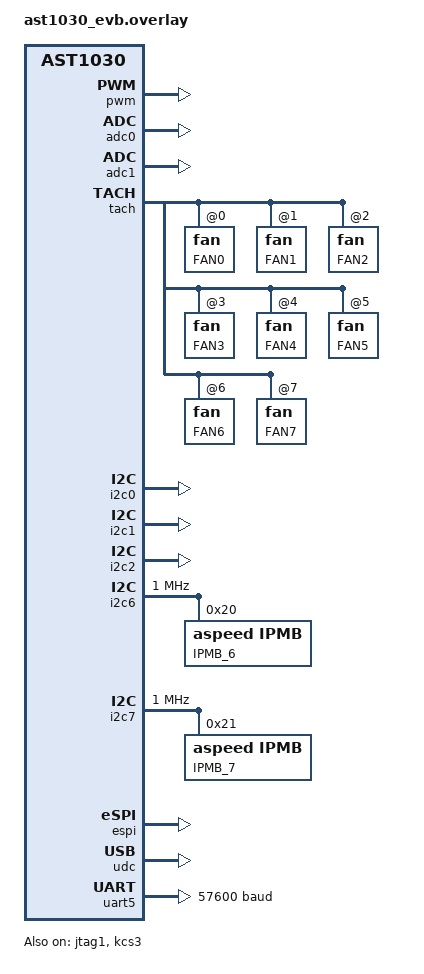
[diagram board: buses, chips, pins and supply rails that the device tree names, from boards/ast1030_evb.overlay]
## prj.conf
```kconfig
# cmsis-os2
CONFIG_CMSIS_RTOS_V2=y
CONFIG_NUM_PREEMPT_PRIORITIES=56
#CONFIG_HEAP_MEM_POOL_SIZE=8192
#CONFIG_CMSIS_V2_MSGQ_MAX_DYNAMIC_SIZE=32768
CONFIG_HEAP_MEM_POOL_SIZE=32768
CONFIG_CMSIS_V2_MSGQ_MAX_DYNAMIC_SIZE=16384
CONFIG_POLL=y
CONFIG_THREAD_NAME=y
CONFIG_THREAD_STACK_INFO=y
CONFIG_THREAD_MONITOR=y
CONFIG_IRQ_OFFLOAD=y
CONFIG_INIT_STACKS=y
CONFIG_MAX_THREAD_BYTES=4
CONFIG_SCHED_SCALABLE=y
CONFIG_CMSIS_V2_MEM_SLAB_MAX_DYNAMIC_SIZE=128
CONFIG_CMSIS_V2_THREAD_MAX_COUNT=23
CONFIG_CMSIS_V2_THREAD_DYNAMIC_MAX_COUNT=10
CONFIG_TIMEOUT_64BIT=n
CONFIG_CMSIS_V2_THREAD_MAX_STACK_SIZE=8000
CONFIG_CMSIS_V2_THREAD_DYNAMIC_STACK_SIZE=3000
CONFIG_MP_NUM_CPUS=1

# disable for qemu delay too short issue
CONFIG_QEMU_ICOUNT=n

# define aspeed driver
CONFIG_GPIO=y
CONFIG_SPI=y
CONFIG_SPI_NOR_MULTI_DEV=y
CONFIG_I2C=y
CONFIG_THREAD_RUNTIME_STATS=y
CONFIG_GPIO_SHELL=y
CONFIG_I2C_SLAVE=y
CONFIG_I2C_EEPROM_SLAVE=y
CONFIG_I2C_IPMB_SLAVE=y
CONFIG_PWM=y
CONFIG_ADC=y
CONFIG_JTAG=n
CONFIG_FLASH=y
CONFIG_FLASH_SHELL=y
CONFIG_SENSOR=y
CONFIG_HWINFO=y
CONFIG_ESPI=y
CONFIG_PECI=n
CONFIG_MINIMAL_LIBC_MALLOC_ARENA_SIZE=102400
CONFIG_REBOOT=y
CONFIG_POSIX_CLOCK=y
CONFIG_STACK_SENTINEL=y
CONFIG_LOG=y
CONFIG_LOG_BACKEND_UART=y
CONFIG_SHELL=y
CONFIG_SHELL_BACKEND_SERIAL_INIT_PRIORITY=99
CONFIG_IPMI=y
CONFIG_IPMI_KCS_ASPEED=y
CONFIG_I3C=y
CONFIG_I3C_SLAVE=y
CONFIG_I3C_SLAVE_MQUEUE=y
CONFIG_WATCHDOG=y
#USB
CONFIG_USB=y
CONFIG_USB_DEVICE_STACK=y
CONFIG_USB_DEVICE_PRODUCT="Zephyr CDC ACM"
CONFIG_USB_CDC_ACM=n
CONFIG_USB_CDC_ACM_RINGBUF_SIZE=576
CONFIG_USB_DEVICE_VID=0x1d6b
CONFIG_USB_DEVICE_PID=0x0104
CONFIG_LOG_BUFFER_SIZE=5120
#USB

CONFIG_USERSPACE=y
CONFIG_KERNEL_BIN_NAME="Y35BBB"
```

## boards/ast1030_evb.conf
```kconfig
CONFIG_GPIO_ASPEED_SGPIOM=y
CONFIG_GPIO_ASPEED=y
CONFIG_SPI_ASPEED=y
CONFIG_I2C_ASPEED=y
CONFIG_ADC_ASPEED=y
CONFIG_JTAG_ASPEED=n
CONFIG_PWM_ASPEED=y
CONFIG_TACH_ASPEED=y
CONFIG_ESPI_ASPEED=y
CONFIG_PECI_ASPEED=n
CONFIG_PECI_ASPEED_INTERRUPT_DRIVEN=n
CONFIG_USB_ASPEED=y
CONFIG_I3C_ASPEED=y
CONFIG_CRYPTO=n
CONFIG_CRYPTO_ASPEED=n
CONFIG_RSA_ASPEED=n
```

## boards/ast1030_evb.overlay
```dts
&pwm {
	status = "okay";
	pinctrl-0 = <&pinctrl_pwm0_default &pinctrl_pwm1_default
		&pinctrl_pwm2_default &pinctrl_pwm3_default>;
};

&adc0 {
	status = "okay";
	pinctrl-0 = <&pinctrl_adc0_default &pinctrl_adc1_default
		&pinctrl_adc2_default &pinctrl_adc3_default
		&pinctrl_adc4_default &pinctrl_adc5_default
		&pinctrl_adc6_default &pinctrl_adc7_default>;
};

&adc1 {
	status = "okay";
	pinctrl-0 = <&pinctrl_adc8_default &pinctrl_adc9_default
		&pinctrl_adc10_default &pinctrl_adc11_default
		&pinctrl_adc12_default &pinctrl_adc13_default
		&pinctrl_adc14_default &pinctrl_adc15_default>;
};

&jtag1{
	status = "okay";
};

&tach {
	status = "okay";
	pinctrl-0 = <&pinctrl_tach0_default &pinctrl_tach1_default
		&pinctrl_tach2_default &pinctrl_tach3_default
		&pinctrl_tach4_default &pinctrl_tach5_default
		&pinctrl_tach6_default &pinctrl_tach7_default>;

	fan@0 {
		reg = <0>;
		pulse-pr = <2>;
		min-rpm = <1000>;
		tach-div = <5>;
		label = "FAN0";
	};

	fan@1 {
		reg = <1>;
		pulse-pr = <2>;
		min-rpm = <1000>;
		tach-div = <5>;
		label = "FAN1";
	};

	fan@2 {
		reg = <2>;
		pulse-pr = <2>;
		min-rpm = <1000>;
		tach-div = <5>;
		label = "FAN2";
	};

	fan@3 {
		reg = <3>;
		pulse-pr = <2>;
		min-rpm = <1000>;
		tach-div = <5>;
		label = "FAN3";
	};

	fan@4 {
		reg = <4>;
		pulse-pr = <2>;
		min-rpm = <1000>;
		tach-div = <5>;
		label = "FAN4";
	};

	fan@5 {
		reg = <5>;
		pulse-pr = <2>;
		min-rpm = <1000>;
		tach-div = <5>;
		label = "FAN5";
	};

	fan@6 {
		reg = <6>;
		pulse-pr = <2>;
		min-rpm = <1000>;
		tach-div = <5>;
		label = "FAN6";
	};

	fan@7 {
		reg = <7>;
		pulse-pr = <2>;
		min-rpm = <1000>;
		tach-div = <5>;
		label = "FAN7";
	};
};

&i2c0 {
	pinctrl-0 = <&pinctrl_i2c0_default>;
	status = "okay";
};

&i2c1 {
	pinctrl-0 = <&pinctrl_i2c1_default>;
	status = "okay";
};

&i2c2 {
	pinctrl-0 = <&pinctrl_i2c2_default>;
	status = "okay";
};

&i2c6 {
	pinctrl-0 = <&pinctrl_i2c6_default>;
	clock-frequency = <I2C_BITRATE_FAST_PLUS>;
	status = "okay";

	ipmb6: ipmb@20 {
		compatible = "aspeed,ipmb";
		reg = <0x20>;
		label = "IPMB_6";
		size = <10>;
#ifdef CONFIG_I2C_IPMB_SLAVE
		status = "okay";
#endif
	};
};

&i2c7 {
	pinctrl-0 = <&pinctrl_i2c7_default>;
	clock-frequency = <I2C_BITRATE_FAST_PLUS>;
	status = "okay";

	ipmb7: ipmb@20 {
		compatible = "aspeed,ipmb";
		reg = <0x21>;
		label = "IPMB_7";
		size = <10>;
#ifdef CONFIG_I2C_IPMB_SLAVE
		status = "okay";
#endif
	};

};

&espi {
	status = "okay";

	perif,dma-mode;
	perif,memcyc-src-addr = <0x98000000>;
	perif,memcyc-size = <0x10000>;

	oob,dma-mode;

	flash,dma-mode;
	flash,safs-mode = <0x1>;
};

&udc {
	status = "okay";
};

&kcs3 {
	status = "okay";
	addr = <0xca2>;
};

&uart5 {
	current-speed = <57600>;
};
```

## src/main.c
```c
/*
 * Copyright (c) 2012-2014 Wind River Systems, Inc.
 *
 * SPDX-License-Identifier: Apache-2.0
 */

#include <zephyr.h>
#include <kernel.h>
#include <cmsis_os2.h>
#include <sys/printk.h>
#include "sensor.h"
#include "hal_i2c.h"
#include "plat_gpio.h"
#include "ipmi_def.h"
#include "ipmi.h"

void device_init() {
  adc_init();
}

void set_sys_status() {
  gpio_set(BIC_READY_R, GPIO_HIGH);
}

void main(void)
{
  uint8_t proj_stage = (FIRMWARE_REVISION_1 & 0xf0) >> 4;
  printk("Hello, wellcome to yv35 craterlake POC %d\n", FIRMWARE_REVISION_2);

  util_init_timer();
  util_init_I2C();

  sensor_init();
  FRU_init();
  ipmi_init();
  usb_dev_init();
  device_init();
  set_sys_status();
}

#define DEF_PROJ_GPIO_PRIORITY 61

DEVICE_DEFINE(PRE_DEF_PROJ_GPIO, "PRE_DEF_PROJ_GPIO_NAME",
        &gpio_init, NULL,
        NULL, NULL,
        POST_KERNEL, DEF_PROJ_GPIO_PRIORITY,
        NULL);
```
